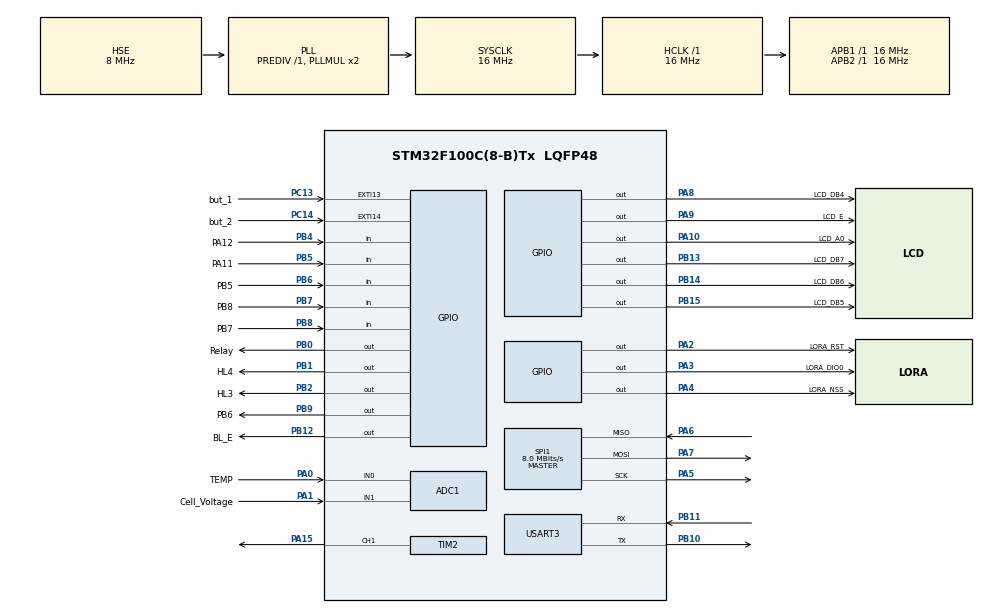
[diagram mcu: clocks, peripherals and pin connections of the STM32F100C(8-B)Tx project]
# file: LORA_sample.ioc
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ADC1.Channel-7\#ChannelRegularConversion=ADC_CHANNEL_1
ADC1.NbrOfConversionFlag=1
ADC1.Rank-7\#ChannelRegularConversion=1
ADC1.SamplingTime-7\#ChannelRegularConversion=ADC_SAMPLETIME_1CYCLE_5
ADC1.master=1
Mcu.Family=STM32F1
Mcu.Name=STM32F100C(8-B)Tx
Mcu.Package=LQFP48
NVIC.EXTI15_10_IRQn=true\:0\:0\:false\:false\:true\:true\:true
NVIC.PriorityGroup=NVIC_PRIORITYGROUP_4
NVIC.TIM1_UP_TIM16_IRQn=true\:0\:0\:false\:false\:true\:true\:true
NVIC.TIM2_IRQn=true\:0\:0\:false\:false\:true\:true\:true
NVIC.TIM4_IRQn=true\:0\:0\:false\:false\:true\:true\:true
PA0-WKUP.GPIO_Label=TEMP
PA0-WKUP.Signal=ADCx_IN0
PA1.GPIO_Label=Cell_Voltage
PA1.Signal=ADCx_IN1
PA10.GPIO_Label=LCD_A0
PA10.Signal=GPIO_Output
PA13.Mode=Serial_Wire
PA13.Signal=SYS_JTMS-SWDIO
PA14.Mode=Serial_Wire
PA14.Signal=SYS_JTCK-SWCLK
PA15.Signal=S_TIM2_CH1_ETR
PA2.GPIO_Label=LORA_RST
PA2.Signal=GPIO_Output
PA3.GPIO_Label=LORA_DIO0
PA3.Signal=GPIO_Output
PA4.GPIO_Label=LORA_NSS
PA4.Signal=GPIO_Output
PA5.Mode=Full_Duplex_Master
PA5.Signal=SPI1_SCK
PA6.Mode=Full_Duplex_Master
PA6.Signal=SPI1_MISO
PA7.Mode=Full_Duplex_Master
PA7.Signal=SPI1_MOSI
PA8.GPIO_Label=LCD_DB4
PA8.Signal=GPIO_Output
PA9.GPIO_Label=LCD_E
PA9.Signal=GPIO_Output
PB0.GPIO_Label=Relay
PB0.Signal=GPIO_Output
PB1.GPIO_Label=HL4
PB1.Signal=GPIO_Output
PB10.Mode=Asynchronous
PB10.Signal=USART3_TX
PB11.Mode=Asynchronous
PB11.Signal=USART3_RX
PB12.GPIO_Label=BL_E
PB12.Signal=GPIO_Output
PB13.GPIO_Label=LCD_DB7
PB13.Signal=GPIO_Output
PB14.GPIO_Label=LCD_DB6
PB14.Signal=GPIO_Output
PB15.GPIO_Label=LCD_DB5
PB15.Signal=GPIO_Output
PB2.GPIO_Label=HL3
PB2.Signal=GPIO_Output
PB4.GPIO_Label=PA12
PB4.Signal=GPIO_Input
PB5.GPIO_Label=PA11
PB5.Signal=GPIO_Input
PB6.GPIO_Label=PB5
PB6.Signal=GPIO_Input
PB7.GPIO_Label=PB8
PB7.Signal=GPIO_Input
PB8.GPIO_Label=PB7
PB8.Signal=GPIO_Input
PB9.GPIO_Label=PB6
PB9.Signal=GPIO_Output
PC13-TAMPER-RTC.GPIO_Label=but_1
PC13-TAMPER-RTC.Signal=GPXTI13
PC14-OSC32_IN.GPIO_Label=but_2
PC14-OSC32_IN.Signal=GPXTI14
PD0-OSC_IN.Mode=HSE-External-Oscillator
PD0-OSC_IN.Signal=RCC_OSC_IN
PD1-OSC_OUT.Mode=HSE-External-Oscillator
PD1-OSC_OUT.Signal=RCC_OSC_OUT
ProjectManager.HeapSize=0x200
ProjectManager.StackSize=0x400
ProjectManager.TargetToolchain=STM32CubeIDE
RCC.AHBFreq_Value=16000000
RCC.APB1Freq_Value=16000000
RCC.APB1TimFreq_Value=16000000
RCC.APB2Freq_Value=16000000
RCC.APB2TimFreq_Value=16000000
RCC.HCLKFreq_Value=16000000
RCC.PLLSource=RCC_PLLSOURCE_HSE
RCC.SYSCLKFreq_VALUE=16000000
RCC.SYSCLKSource=RCC_SYSCLKSOURCE_PLLCLK
SH.ADCx_IN0.0=ADC1_IN0,IN0
SH.ADCx_IN1.0=ADC1_IN1,IN1
SH.S_TIM2_CH1_ETR.0=TIM2_CH1,PWM Generation1 CH1
SPI1.CalculateBaudRate=8.0 MBits/s
SPI1.Direction=SPI_DIRECTION_2LINES
SPI1.Mode=SPI_MODE_MASTER
SPI1.VirtualType=VM_MASTER
TIM16.Channel=TIM_CHANNEL_1
TIM16.Period=19
TIM16.Prescaler=15999
TIM2.AutoReloadPreload=TIM_AUTORELOAD_PRELOAD_ENABLE
TIM2.Channel-PWM\ Generation1\ CH1=TIM_CHANNEL_1
TIM2.Period=19
TIM2.Prescaler=16000
TIM4.AutoReloadPreload=TIM_AUTORELOAD_PRELOAD_DISABLE
TIM4.Prescaler=15999
TIM4.TIM_MasterOutputTrigger=TIM_TRGO_RESET
USART3.VirtualMode=VM_ASYNC
VP_TIM16_VS_ClockSourceINT.Mode=Enable_Timer
VP_TIM2_VS_ClockSourceINT.Mode=Internal
VP_TIM4_VS_ClockSourceINT.Mode=Internal
VP_TIM6_VS_ClockSourceINT.Mode=Enable_Timer
board=custom

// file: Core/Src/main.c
/* USER CODE BEGIN Header */
/**
  ******************************************************************************
  * @file           : main.c
  * @brief          : Main program body
  ******************************************************************************
  * @attention
  *
  * <h2><center>&copy; Copyright (c) 2020 STMicroelectronics.
  * All rights reserved.</center></h2>
  *
  * This software component is licensed by ST under BSD 3-Clause license,
  * the "License"; You may not use this file except in compliance with the
  * License. You may obtain a copy of the License at:
  *                        opensource.org/licenses/BSD-3-Clause
  *
  ******************************************************************************
  */
/* USER CODE END Header */

#include "main.h"

/* USER CODE BEGIN PD */
#define _menu_count 4
/* USER CODE END PD */

ADC_HandleTypeDef hadc1;

SPI_HandleTypeDef hspi1;

TIM_HandleTypeDef htim2;
TIM_HandleTypeDef htim4;
TIM_HandleTypeDef htim6;
TIM_HandleTypeDef htim16;

UART_HandleTypeDef huart3;

/* USER CODE BEGIN PV */
char buffer[512];
/* USER CODE END PV */

void SystemClock_Config(void);
static void MX_GPIO_Init(void);
static void MX_ADC1_Init(void);
static void MX_SPI1_Init(void);
static void MX_TIM2_Init(void);
static void MX_USART3_UART_Init(void);
static void MX_TIM16_Init(void);
static void MX_TIM6_Init(void);
static void MX_TIM4_Init(void);
/* USER CODE BEGIN PFP */
inline void Print_Menu(Lcd_HandleTypeDef * lcd, uint8_t page, uint8_t menu);
/* USER CODE END PFP */

/* USER CODE BEGIN 0 */
const char* menu_str[] = {
		"RX Lora",
		"Test Reg",
		"Menu 3",
		"Menu 4"
};
/* USER CODE END 0 */

int main(void)
{
  /* USER CODE BEGIN 1 */
  Lcd_PortType ports[] = {
		  GPIOA, GPIOB, GPIOB, GPIOB
  };

  Lcd_PinType pins[] = {LCD_DB4_Pin, LCD_DB5_Pin, LCD_DB6_Pin, LCD_DB7_Pin};

  Lcd_HandleTypeDef lcd;
  lcd = Lcd_create(ports, pins, GPIOA, LCD_A0_Pin, GPIOA, LCD_E_Pin);

  //menu variables
  const uint8_t page_count = _menu_count / 2 + _menu_count % 2;
  uint8_t page = 1, menu = 1;

  //lora variables
  int ret = 0;

  int message = 0;
  int message_length = 0;
  /* USER CODE END 1 */

  /* MCU Configuration--------------------------------------------------------*/

  /* Reset of all peripherals, Initializes the Flash interface and the Systick. */
  HAL_Init();

  /* Configure the system clock */
  SystemClock_Config();

  /* Initialize all configured peripherals */
  MX_GPIO_Init();
  MX_ADC1_Init();
  MX_SPI1_Init();
  MX_TIM2_Init();
  MX_USART3_UART_Init();
  MX_TIM16_Init();
  MX_TIM6_Init();
  MX_TIM4_Init();
  /* USER CODE BEGIN 2 */
  Lcd_init(&lcd);
  Lcd_clear(&lcd);
  Lcd_disable_cursor(&lcd);

  SX1278_hw_t SX1278_hw;
  SX1278_t SX1278;

  SX1278_hw.dio0.pin = LORA_DIO0_Pin;
  SX1278_hw.dio0.port = GPIOA;
  SX1278_hw.nss.pin = LORA_NSS_Pin;
  SX1278_hw.nss.port = GPIOA;
  SX1278_hw.reset.pin = LORA_RST_Pin;
  SX1278_hw.reset.port = GPIOA;
  SX1278_hw.spi = &hspi1;

  SX1278.hw = &SX1278_hw;

  SX1278_begin(&SX1278, SX1278_433MHZ, SX1278_POWER_17DBM, SX1278_LORA_SF_8,
  			SX1278_LORA_BW_20_8KHZ, 10);

  HAL_TIM_PWM_Start(&htim2, TIM_CHANNEL_1); //for buzzer

  Lcd_cursor(&lcd, 0, 0);
  Lcd_printf(&lcd, "%s", "Lora project v1");
  buzzer(600, 10);
  HAL_Delay(500);
  buzzer(600, 0);
  Print_Menu(&lcd, page, menu);

  Button_state buttons = NONE_Pressed;
  /* USER CODE END 2 */

  /* Infinite loop */
  /* USER CODE BEGIN WHILE */
  while (1)
  {
	  buttons = ReadButtons();
	  if (buttons == LEFT_Pressed) {
		  buzzer(600, 4);
		  HAL_Delay(20);
		  buzzer(600, 0);
		  menu ++;
		  if (menu > _menu_count) {
			  menu = 1;
			  page = 1;
		  }
		  if (page <  menu / 2 + menu % 2) {
			  page ++;
			  if (page > page_count) page = 1;
		  }
		  Print_Menu(&lcd, page, menu);
	  }
	  else if (buttons == RIGHT_Pressed) {
		  switch(menu) {
		  	  case 1: {
		  		ret = SX1278_LoRaEntryRx(&SX1278, 16, 2000);
		  		while (1) { //infinity loop yes )
					Lcd_clear(&lcd);
					Lcd_cursor(&lcd, 0, 0);

					ret = SX1278_LoRaRxPacket(&SX1278);
					Lcd_printf(&lcd, "Received: %d", ret);
					if (ret > 0) {
						SX1278_read(&SX1278, (uint8_t*) buffer, ret);
						Lcd_cursor(&lcd, 1, 0);
						Lcd_printf(&lcd, "%s", buffer);
					}
					if (ReadButtons() == BOTH_Pressed)  {
						buzzer(600, 4);
						HAL_Delay(100);
						buzzer(600, 0);
						Print_Menu(&lcd, page, menu);
						break;
					}
					HAL_Delay(500);
		  		}
		  	  }
		  	break;
		  	  case 2: {
				  Lcd_clear(&lcd);
				  Lcd_cursor(&lcd, 0, 0);
				  uint8_t test = SX1278_SPIRead(&SX1278, 0x42);
				  Lcd_printf(&lcd, "Test reg: %d", test);
		  	  }
			break;
		  }
	  }
    /* USER CODE END WHILE */

  }
}

void SystemClock_Config(void)
{
  RCC_OscInitTypeDef RCC_OscInitStruct = {0};
  RCC_ClkInitTypeDef RCC_ClkInitStruct = {0};
  RCC_PeriphCLKInitTypeDef PeriphClkInit = {0};

  /** Initializes the CPU, AHB and APB busses clocks
  */
  RCC_OscInitStruct.OscillatorType = RCC_OSCILLATORTYPE_HSE;
  RCC_OscInitStruct.HSEState = RCC_HSE_ON;
  RCC_OscInitStruct.HSEPredivValue = RCC_HSE_PREDIV_DIV1;
  RCC_OscInitStruct.PLL.PLLState = RCC_PLL_ON;
  RCC_OscInitStruct.PLL.PLLSource = RCC_PLLSOURCE_HSE;
  RCC_OscInitStruct.PLL.PLLMUL = RCC_PLL_MUL2;
  if (HAL_RCC_OscConfig(&RCC_OscInitStruct) != HAL_OK)
  {
    Error_Handler();
  }
  /** Initializes the CPU, AHB and APB busses clocks
  */
  RCC_ClkInitStruct.ClockType = RCC_CLOCKTYPE_HCLK|RCC_CLOCKTYPE_SYSCLK
                              |RCC_CLOCKTYPE_PCLK1|RCC_CLOCKTYPE_PCLK2;
  RCC_ClkInitStruct.SYSCLKSource = RCC_SYSCLKSOURCE_PLLCLK;
  RCC_ClkInitStruct.AHBCLKDivider = RCC_SYSCLK_DIV1;
  RCC_ClkInitStruct.APB1CLKDivider = RCC_HCLK_DIV1;
  RCC_ClkInitStruct.APB2CLKDivider = RCC_HCLK_DIV1;

  if (HAL_RCC_ClockConfig(&RCC_ClkInitStruct, FLASH_LATENCY_0) != HAL_OK)
  {
    Error_Handler();
  }
  PeriphClkInit.PeriphClockSelection = RCC_PERIPHCLK_ADC;
  PeriphClkInit.AdcClockSelection = RCC_ADCPCLK2_DIV2;
  if (HAL_RCCEx_PeriphCLKConfig(&PeriphClkInit) != HAL_OK)
  {
    Error_Handler();
  }
}

static void MX_ADC1_Init(void)
{

  ADC_ChannelConfTypeDef sConfig = {0};

  /** Common config
  */
  hadc1.Instance = ADC1;
  hadc1.Init.ScanConvMode = ADC_SCAN_DISABLE;
  hadc1.Init.ContinuousConvMode = DISABLE;
  hadc1.Init.DiscontinuousConvMode = DISABLE;
  hadc1.Init.ExternalTrigConv = ADC_SOFTWARE_START;
  hadc1.Init.DataAlign = ADC_DATAALIGN_RIGHT;
  hadc1.Init.NbrOfConversion = 1;
  if (HAL_ADC_Init(&hadc1) != HAL_OK)
  {
    Error_Handler();
  }
  /** Configure Regular Channel
  */
  sConfig.Channel = ADC_CHANNEL_1;
  sConfig.Rank = ADC_REGULAR_RANK_1;
  sConfig.SamplingTime = ADC_SAMPLETIME_1CYCLE_5;
  if (HAL_ADC_ConfigChannel(&hadc1, &sConfig) != HAL_OK)
  {
    Error_Handler();
  }

}

static void MX_SPI1_Init(void)
{

  /* SPI1 parameter configuration*/
  hspi1.Instance = SPI1;
  hspi1.Init.Mode = SPI_MODE_MASTER;
  hspi1.Init.Direction = SPI_DIRECTION_2LINES;
  hspi1.Init.DataSize = SPI_DATASIZE_8BIT;
  hspi1.Init.CLKPolarity = SPI_POLARITY_LOW;
  hspi1.Init.CLKPhase = SPI_PHASE_1EDGE;
  hspi1.Init.NSS = SPI_NSS_SOFT;
  hspi1.Init.BaudRatePrescaler = SPI_BAUDRATEPRESCALER_2;
  hspi1.Init.FirstBit = SPI_FIRSTBIT_MSB;
  hspi1.Init.TIMode = SPI_TIMODE_DISABLE;
  hspi1.Init.CRCCalculation = SPI_CRCCALCULATION_DISABLE;
  hspi1.Init.CRCPolynomial = 10;
  if (HAL_SPI_Init(&hspi1) != HAL_OK)
  {
    Error_Handler();
  }

}

static void MX_TIM2_Init(void)
{

  TIM_ClockConfigTypeDef sClockSourceConfig = {0};
  TIM_MasterConfigTypeDef sMasterConfig = {0};
  TIM_OC_InitTypeDef sConfigOC = {0};

  htim2.Instance = TIM2;
  htim2.Init.Prescaler = 16000;
  htim2.Init.CounterMode = TIM_COUNTERMODE_UP;
  htim2.Init.Period = 19;
  htim2.Init.ClockDivision = TIM_CLOCKDIVISION_DIV1;
  htim2.Init.AutoReloadPreload = TIM_AUTORELOAD_PRELOAD_ENABLE;
  if (HAL_TIM_Base_Init(&htim2) != HAL_OK)
  {
    Error_Handler();
  }
  sClockSourceConfig.ClockSource = TIM_CLOCKSOURCE_INTERNAL;
  if (HAL_TIM_ConfigClockSource(&htim2, &sClockSourceConfig) != HAL_OK)
  {
    Error_Handler();
  }
  if (HAL_TIM_PWM_Init(&htim2) != HAL_OK)
  {
    Error_Handler();
  }
  sMasterConfig.MasterOutputTrigger = TIM_TRGO_RESET;
  sMasterConfig.MasterSlaveMode = TIM_MASTERSLAVEMODE_DISABLE;
  if (HAL_TIMEx_MasterConfigSynchronization(&htim2, &sMasterConfig) != HAL_OK)
  {
    Error_Handler();
  }
  sConfigOC.OCMode = TIM_OCMODE_PWM1;
  sConfigOC.Pulse = 0;
  sConfigOC.OCPolarity = TIM_OCPOLARITY_HIGH;
  sConfigOC.OCFastMode = TIM_OCFAST_DISABLE;
  if (HAL_TIM_PWM_ConfigChannel(&htim2, &sConfigOC, TIM_CHANNEL_1) != HAL_OK)
  {
    Error_Handler();
  }
  HAL_TIM_MspPostInit(&htim2);

}

static void MX_TIM4_Init(void)
{

  TIM_ClockConfigTypeDef sClockSourceConfig = {0};
  TIM_MasterConfigTypeDef sMasterConfig = {0};

  htim4.Instance = TIM4;
  htim4.Init.Prescaler = 15999;
  htim4.Init.CounterMode = TIM_COUNTERMODE_UP;
  htim4.Init.Period = 0;
  htim4.Init.ClockDivision = TIM_CLOCKDIVISION_DIV1;
  htim4.Init.AutoReloadPreload = TIM_AUTORELOAD_PRELOAD_DISABLE;
  if (HAL_TIM_Base_Init(&htim4) != HAL_OK)
  {
    Error_Handler();
  }
  sClockSourceConfig.ClockSource = TIM_CLOCKSOURCE_INTERNAL;
  if (HAL_TIM_ConfigClockSource(&htim4, &sClockSourceConfig) != HAL_OK)
  {
    Error_Handler();
  }
  sMasterConfig.MasterOutputTrigger = TIM_TRGO_RESET;
  sMasterConfig.MasterSlaveMode = TIM_MASTERSLAVEMODE_DISABLE;
  if (HAL_TIMEx_MasterConfigSynchronization(&htim4, &sMasterConfig) != HAL_OK)
  {
    Error_Handler();
  }

}

static void MX_TIM6_Init(void)
{

  TIM_MasterConfigTypeDef sMasterConfig = {0};

  htim6.Instance = TIM6;
  htim6.Init.Prescaler = 0;
  htim6.Init.CounterMode = TIM_COUNTERMODE_UP;
  htim6.Init.Period = 0;
  htim6.Init.AutoReloadPreload = TIM_AUTORELOAD_PRELOAD_DISABLE;
  if (HAL_TIM_Base_Init(&htim6) != HAL_OK)
  {
    Error_Handler();
  }
  sMasterConfig.MasterOutputTrigger = TIM_TRGO_RESET;
  sMasterConfig.MasterSlaveMode = TIM_MASTERSLAVEMODE_DISABLE;
  if (HAL_TIMEx_MasterConfigSynchronization(&htim6, &sMasterConfig) != HAL_OK)
  {
    Error_Handler();
  }

}

static void MX_TIM16_Init(void)
{

  htim16.Instance = TIM16;
  htim16.Init.Prescaler = 15999;
  htim16.Init.CounterMode = TIM_COUNTERMODE_UP;
  htim16.Init.Period = 19;
  htim16.Init.ClockDivision = TIM_CLOCKDIVISION_DIV1;
  htim16.Init.RepetitionCounter = 0;
  htim16.Init.AutoReloadPreload = TIM_AUTORELOAD_PRELOAD_DISABLE;
  if (HAL_TIM_Base_Init(&htim16) != HAL_OK)
  {
    Error_Handler();
  }

}

static void MX_USART3_UART_Init(void)
{

  huart3.Instance = USART3;
  huart3.Init.BaudRate = 115200;
  huart3.Init.WordLength = UART_WORDLENGTH_8B;
  huart3.Init.StopBits = UART_STOPBITS_1;
  huart3.Init.Parity = UART_PARITY_NONE;
  huart3.Init.Mode = UART_MODE_TX_RX;
  huart3.Init.HwFlowCtl = UART_HWCONTROL_NONE;
  huart3.Init.OverSampling = UART_OVERSAMPLING_16;
  if (HAL_UART_Init(&huart3) != HAL_OK)
  {
    Error_Handler();
  }

}

static void MX_GPIO_Init(void)
{
  GPIO_InitTypeDef GPIO_InitStruct = {0};

  /* GPIO Ports Clock Enable */
  __HAL_RCC_GPIOC_CLK_ENABLE();
  __HAL_RCC_GPIOD_CLK_ENABLE();
  __HAL_RCC_GPIOA_CLK_ENABLE();
  __HAL_RCC_GPIOB_CLK_ENABLE();

  /*Configure GPIO pin Output Level */
  HAL_GPIO_WritePin(GPIOA, LORA_RST_Pin|LORA_DIO0_Pin|LORA_NSS_Pin|LCD_DB4_Pin
                          |LCD_E_Pin|LCD_A0_Pin, GPIO_PIN_RESET);

  /*Configure GPIO pin Output Level */
  HAL_GPIO_WritePin(GPIOB, Relay_Pin|HL4_Pin|HL3_Pin|BL_E_Pin
                          |LCD_DB7_Pin|LCD_DB6_Pin|LCD_DB5_Pin|PB6_Pin, GPIO_PIN_RESET);

  /*Configure GPIO pins : but_1_Pin but_2_Pin */
  GPIO_InitStruct.Pin = but_1_Pin|but_2_Pin;
  GPIO_InitStruct.Mode = GPIO_MODE_IT_RISING;
  GPIO_InitStruct.Pull = GPIO_NOPULL;
  HAL_GPIO_Init(GPIOC, &GPIO_InitStruct);

  /*Configure GPIO pins : LORA_RST_Pin LORA_DIO0_Pin LORA_NSS_Pin LCD_DB4_Pin
                           LCD_E_Pin LCD_A0_Pin */
  GPIO_InitStruct.Pin = LORA_RST_Pin|LORA_DIO0_Pin|LORA_NSS_Pin|LCD_DB4_Pin
                          |LCD_E_Pin|LCD_A0_Pin;
  GPIO_InitStruct.Mode = GPIO_MODE_OUTPUT_PP;
  GPIO_InitStruct.Pull = GPIO_NOPULL;
  GPIO_InitStruct.Speed = GPIO_SPEED_FREQ_LOW;
  HAL_GPIO_Init(GPIOA, &GPIO_InitStruct);

  /*Configure GPIO pins : Relay_Pin HL4_Pin HL3_Pin BL_E_Pin
                           LCD_DB7_Pin LCD_DB6_Pin LCD_DB5_Pin PB6_Pin */
  GPIO_InitStruct.Pin = Relay_Pin|HL4_Pin|HL3_Pin|BL_E_Pin
                          |LCD_DB7_Pin|LCD_DB6_Pin|LCD_DB5_Pin|PB6_Pin;
  GPIO_InitStruct.Mode = GPIO_MODE_OUTPUT_PP;
  GPIO_InitStruct.Pull = GPIO_NOPULL;
  GPIO_InitStruct.Speed = GPIO_SPEED_FREQ_LOW;
  HAL_GPIO_Init(GPIOB, &GPIO_InitStruct);

  /*Configure GPIO pins : PA12_Pin PA11_Pin PB5_Pin PB8_Pin
                           PB7_Pin */
  GPIO_InitStruct.Pin = PA12_Pin|PA11_Pin|PB5_Pin|PB8_Pin
                          |PB7_Pin;
  GPIO_InitStruct.Mode = GPIO_MODE_INPUT;
  GPIO_InitStruct.Pull = GPIO_NOPULL;
  HAL_GPIO_Init(GPIOB, &GPIO_InitStruct);

  /* EXTI interrupt init*/
  HAL_NVIC_SetPriority(EXTI15_10_IRQn, 0, 0);
  HAL_NVIC_EnableIRQ(EXTI15_10_IRQn);

}

/* USER CODE BEGIN 4 */
void Print_Menu(Lcd_HandleTypeDef * lcd, uint8_t page, uint8_t menu) {
	Lcd_clear(lcd);
	Lcd_cursor(lcd, 0, 0);
	Lcd_string(lcd, menu_str[2 * page - 2]);
    Lcd_cursor(lcd, 1, 0);
    Lcd_string(lcd, menu_str[2 * page - 1]);
    Lcd_cursor(lcd, (menu - 1) % 2, 15);
    Lcd_blink(lcd);
}
/* USER CODE END 4 */

void Error_Handler(void)
{
}

/************************ (C) COPYRIGHT STMicroelectronics *****END OF FILE****/
